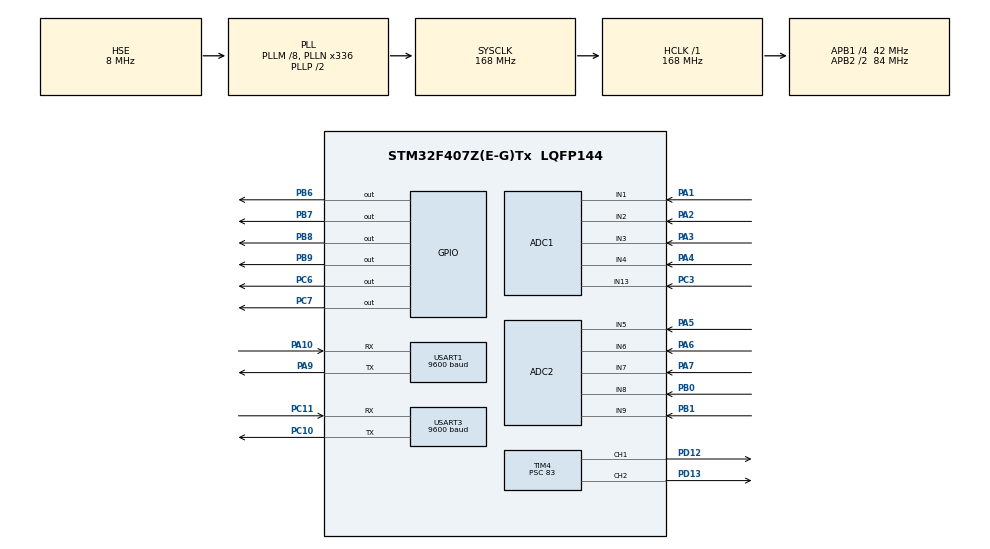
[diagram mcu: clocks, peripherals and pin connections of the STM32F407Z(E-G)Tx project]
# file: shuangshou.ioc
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ADC1.Channel-0\#ChannelRegularConversion=ADC_CHANNEL_13
ADC1.Channel-1\#ChannelRegularConversion=ADC_CHANNEL_1
ADC1.Channel-2\#ChannelRegularConversion=ADC_CHANNEL_2
ADC1.Channel-3\#ChannelRegularConversion=ADC_CHANNEL_3
ADC1.Channel-4\#ChannelRegularConversion=ADC_CHANNEL_4
ADC1.ClockPrescaler=ADC_CLOCK_SYNC_PCLK_DIV4
ADC1.ContinuousConvMode=ENABLE
ADC1.DMAContinuousRequests=ENABLE
ADC1.DiscontinuousConvMode=DISABLE
ADC1.NbrOfConversion=5
ADC1.NbrOfConversionFlag=1
ADC1.Rank-0\#ChannelRegularConversion=1
ADC1.Rank-1\#ChannelRegularConversion=2
ADC1.Rank-2\#ChannelRegularConversion=3
ADC1.Rank-3\#ChannelRegularConversion=4
ADC1.Rank-4\#ChannelRegularConversion=5
ADC1.SamplingTime-0\#ChannelRegularConversion=ADC_SAMPLETIME_480CYCLES
ADC1.SamplingTime-1\#ChannelRegularConversion=ADC_SAMPLETIME_480CYCLES
ADC1.SamplingTime-2\#ChannelRegularConversion=ADC_SAMPLETIME_480CYCLES
ADC1.SamplingTime-3\#ChannelRegularConversion=ADC_SAMPLETIME_480CYCLES
ADC1.SamplingTime-4\#ChannelRegularConversion=ADC_SAMPLETIME_480CYCLES
ADC1.ScanConvMode=ENABLE
ADC1.master=1
ADC2.Channel-0\#ChannelRegularConversion=ADC_CHANNEL_5
ADC2.Channel-1\#ChannelRegularConversion=ADC_CHANNEL_6
ADC2.Channel-2\#ChannelRegularConversion=ADC_CHANNEL_7
ADC2.Channel-3\#ChannelRegularConversion=ADC_CHANNEL_8
ADC2.Channel-4\#ChannelRegularConversion=ADC_CHANNEL_9
ADC2.ClockPrescaler=ADC_CLOCK_SYNC_PCLK_DIV4
ADC2.ContinuousConvMode=ENABLE
ADC2.DMAContinuousRequests=ENABLE
ADC2.NbrOfConversion=5
ADC2.NbrOfConversionFlag=1
ADC2.Rank-0\#ChannelRegularConversion=1
ADC2.Rank-1\#ChannelRegularConversion=2
ADC2.Rank-2\#ChannelRegularConversion=3
ADC2.Rank-3\#ChannelRegularConversion=4
ADC2.Rank-4\#ChannelRegularConversion=5
ADC2.SamplingTime-0\#ChannelRegularConversion=ADC_SAMPLETIME_480CYCLES
ADC2.SamplingTime-1\#ChannelRegularConversion=ADC_SAMPLETIME_480CYCLES
ADC2.SamplingTime-2\#ChannelRegularConversion=ADC_SAMPLETIME_480CYCLES
ADC2.SamplingTime-3\#ChannelRegularConversion=ADC_SAMPLETIME_480CYCLES
ADC2.SamplingTime-4\#ChannelRegularConversion=ADC_SAMPLETIME_480CYCLES
ADC2.ScanConvMode=ENABLE
Dma.ADC1.0.Direction=DMA_PERIPH_TO_MEMORY
Dma.ADC1.0.FIFOMode=DMA_FIFOMODE_DISABLE
Dma.ADC1.0.Instance=DMA2_Stream0
Dma.ADC1.0.MemDataAlignment=DMA_MDATAALIGN_HALFWORD
Dma.ADC1.0.MemInc=DMA_MINC_ENABLE
Dma.ADC1.0.Mode=DMA_CIRCULAR
Dma.ADC1.0.PeriphDataAlignment=DMA_PDATAALIGN_HALFWORD
Dma.ADC1.0.PeriphInc=DMA_PINC_DISABLE
Dma.ADC1.0.Priority=DMA_PRIORITY_LOW
Dma.ADC2.1.Direction=DMA_PERIPH_TO_MEMORY
Dma.ADC2.1.FIFOMode=DMA_FIFOMODE_DISABLE
Dma.ADC2.1.Instance=DMA2_Stream2
Dma.ADC2.1.MemDataAlignment=DMA_MDATAALIGN_HALFWORD
Dma.ADC2.1.MemInc=DMA_MINC_ENABLE
Dma.ADC2.1.Mode=DMA_CIRCULAR
Dma.ADC2.1.PeriphDataAlignment=DMA_PDATAALIGN_HALFWORD
Dma.ADC2.1.PeriphInc=DMA_PINC_DISABLE
Dma.ADC2.1.Priority=DMA_PRIORITY_LOW
Dma.Request0=ADC1
Dma.Request1=ADC2
Dma.Request2=USART1_TX
Dma.USART1_TX.2.Direction=DMA_MEMORY_TO_PERIPH
Dma.USART1_TX.2.FIFOMode=DMA_FIFOMODE_DISABLE
Dma.USART1_TX.2.Instance=DMA2_Stream7
Dma.USART1_TX.2.MemDataAlignment=DMA_MDATAALIGN_BYTE
Dma.USART1_TX.2.MemInc=DMA_MINC_ENABLE
Dma.USART1_TX.2.Mode=DMA_NORMAL
Dma.USART1_TX.2.PeriphDataAlignment=DMA_PDATAALIGN_BYTE
Dma.USART1_TX.2.PeriphInc=DMA_PINC_DISABLE
Dma.USART1_TX.2.Priority=DMA_PRIORITY_LOW
Mcu.Family=STM32F4
Mcu.Name=STM32F407Z(E-G)Tx
Mcu.Package=LQFP144
NVIC.DMA2_Stream0_IRQn=true\:0\:0\:false\:false\:true\:false\:true\:true
NVIC.DMA2_Stream2_IRQn=true\:0\:0\:false\:false\:true\:false\:true\:true
NVIC.DMA2_Stream7_IRQn=true\:0\:0\:false\:false\:true\:false\:true\:true
NVIC.PriorityGroup=NVIC_PRIORITYGROUP_4
NVIC.TIM3_IRQn=true\:0\:0\:false\:false\:true\:true\:true\:true
NVIC.USART1_IRQn=true\:0\:0\:false\:false\:true\:false\:true\:true
NVIC.USART3_IRQn=true\:0\:0\:false\:false\:true\:true\:true\:true
PA1.Signal=ADCx_IN1
PA10.Mode=Asynchronous
PA10.Signal=USART1_RX
PA13.Mode=Serial_Wire
PA13.Signal=SYS_JTMS-SWDIO
PA14.Mode=Serial_Wire
PA14.Signal=SYS_JTCK-SWCLK
PA2.Signal=ADCx_IN2
PA3.Signal=ADCx_IN3
PA4.Signal=ADCx_IN4
PA5.Signal=ADCx_IN5
PA6.Signal=ADCx_IN6
PA7.Signal=ADCx_IN7
PC3.Signal=ADCx_IN13
PA9.Mode=Asynchronous
PA9.Signal=USART1_TX
PB0.Signal=ADCx_IN8
PB1.Signal=ADCx_IN9
PB6.GPIO_Speed=GPIO_SPEED_FREQ_HIGH
PB6.PinState=GPIO_PIN_SET
PB6.Signal=GPIO_Output
PB7.GPIO_Speed=GPIO_SPEED_FREQ_HIGH
PB7.PinState=GPIO_PIN_SET
PB7.Signal=GPIO_Output
PB8.GPIO_Speed=GPIO_SPEED_FREQ_HIGH
PB8.PinState=GPIO_PIN_SET
PB8.Signal=GPIO_Output
PB9.GPIO_Speed=GPIO_SPEED_FREQ_HIGH
PB9.PinState=GPIO_PIN_SET
PB9.Signal=GPIO_Output
PC10.Mode=Asynchronous
PC10.Signal=USART3_TX
PC11.Mode=Asynchronous
PC11.Signal=USART3_RX
PC6.GPIO_Speed=GPIO_SPEED_FREQ_HIGH
PC6.PinState=GPIO_PIN_SET
PC6.Signal=GPIO_Output
PC7.GPIO_Speed=GPIO_SPEED_FREQ_HIGH
PC7.PinState=GPIO_PIN_SET
PC7.Signal=GPIO_Output
PD12.Signal=S_TIM4_CH1
PD13.Signal=S_TIM4_CH2
PH0-OSC_IN.Mode=HSE-External-Oscillator
PH0-OSC_IN.Signal=RCC_OSC_IN
PH1-OSC_OUT.Mode=HSE-External-Oscillator
PH1-OSC_OUT.Signal=RCC_OSC_OUT
ProjectManager.HeapSize=0x200
ProjectManager.StackSize=0x400
ProjectManager.TargetToolchain=MDK-ARM V5.32
RCC.48MHZClocksFreq_Value=84000000
RCC.AHBFreq_Value=168000000
RCC.APB1CLKDivider=RCC_HCLK_DIV4
RCC.APB1Freq_Value=42000000
RCC.APB1TimFreq_Value=84000000
RCC.APB2CLKDivider=RCC_HCLK_DIV2
RCC.APB2Freq_Value=84000000
RCC.APB2TimFreq_Value=168000000
RCC.CortexFreq_Value=168000000
RCC.HCLKFreq_Value=168000000
RCC.HSE_VALUE=8000000
RCC.HSI_VALUE=16000000
RCC.LSE_VALUE=32768
RCC.PLLM=8
RCC.PLLN=336
RCC.PLLSourceVirtual=RCC_PLLSOURCE_HSE
RCC.SYSCLKFreq_VALUE=168000000
RCC.SYSCLKSource=RCC_SYSCLKSOURCE_PLLCLK
RCC.VCOOutputFreq_Value=336000000
SH.ADCx_IN13.0=ADC1_IN13,IN13
SH.ADCx_IN1.0=ADC1_IN1,IN1
SH.ADCx_IN2.0=ADC1_IN2,IN2
SH.ADCx_IN3.0=ADC1_IN3,IN3
SH.ADCx_IN4.0=ADC1_IN4,IN4
SH.ADCx_IN5.0=ADC2_IN5,IN5
SH.ADCx_IN6.0=ADC2_IN6,IN6
SH.ADCx_IN7.0=ADC2_IN7,IN7
SH.ADCx_IN8.0=ADC2_IN8,IN8
SH.ADCx_IN9.0=ADC2_IN9,IN9
SH.S_TIM4_CH1.0=TIM4_CH1,PWM Generation1 CH1
SH.S_TIM4_CH2.0=TIM4_CH2,PWM Generation2 CH2
TIM3.Period=999
TIM3.Prescaler=83
TIM4.Channel-PWM\ Generation1\ CH1=TIM_CHANNEL_1
TIM4.Channel-PWM\ Generation2\ CH2=TIM_CHANNEL_2
TIM4.Period=999
TIM4.Prescaler=83
TIM4.Pulse-PWM\ Generation1\ CH1=500
TIM4.Pulse-PWM\ Generation2\ CH2=500
USART1.BaudRate=9600
USART1.VirtualMode=VM_ASYNC
USART3.BaudRate=9600
USART3.VirtualMode=VM_ASYNC
VP_TIM3_VS_ClockSourceINT.Mode=Internal
board=custom

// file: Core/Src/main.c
/* USER CODE BEGIN Header */
/**
  ******************************************************************************
  * @file           : main.c
  * @brief          : 双手手语翻译手套 - 主调度框架（防御性重构 v3.1）
  * @author         : 项目维护重构版 v3.1
  * @date           : 2026-06-29
  * @note 多速率时序调度（基于 TIM3 1ms 系统 tick）
 *   10ms  / 100Hz : 右手 JY61P Read
  *   10ms  / 100Hz : 跌倒检测 + MAX30102 FIFO 分时读取
  *   20ms  /  50Hz : ADC Ping-Pong 快照 + Flex_Update + 痉挛检测
 *   50ms  /  20Hz : 手势识别 + 振动维护
  *   100ms /  10Hz : 蓝牙指令消费 + SOS 告警 + MAX30102 批处理
 *   250ms /   4Hz : FLEX/IMU 快速遥测；诊断帧每秒一次
  * @note 防御性设计
  *   1. Flex 采样链路使用 Ping-Pong DMA，避免读取时被后台 DMA 覆盖。
  *   2. MAX30102 以 10ms 轮询对齐 100Hz，降低 FIFO 失步和溢出风险。
  *   3. 心率/血氧越界判定下沉到驱动层，main 仅消费最终结果。
  ******************************************************************************
  */
/* USER CODE END Header */
#include "main.h"

#include "adc.h"
#include "dma.h"
#include "tim.h"
#include "usart.h"
#include "gpio.h"

/* USER CODE BEGIN Includes */
#include "i2c.h"
#include "flex_sensor.h"
#include "jy61p.h"
#include "dfplayer.h"
#include "bluetooth.h"
#include "vibrator.h"
#include "gesture.h"
#include "max30102.h"
#include "bringup_diag.h"
#include "soft_uart.h"
#include "alarm.h"
#include "alarm_session.h"
#include "test_input.h"
#include "usart3_rx.h"
#include "math.h"
#include "stddef.h"
#include "stdio.h"
#include "string.h"
/* USER CODE END Includes */

/* USER CODE BEGIN PTD */

/**
 * v3.1 升级说明：柔性传感器采样改为 ADC Ping-Pong 双缓冲
 * （HalfCplt/Cplt 中断），细节见 flex_sensor.c 与 adc.c 的 USER CODE。
 * 旧版 ADC_DMA_PAUSE/RESUME 宏已废弃。
 */
/* USER CODE END PTD */

/* USER CODE BEGIN PD */

/* MAX30102 仅作为展示遥测；外部蜂鸣器只由 JY61P 固件安全事件驱动。 */

/*
 * Temporary MAX30102 bring-up mode. At 9600 baud the five verbose telemetry
 * strings occupy most of the telemetry bandwidth. Keep only compact
 * PPG diagnostics while validating the sensor; set to 0U after bring-up.
 */
#define MAX30102_DIAG_ONLY 0U
#define BLUETOOTH_FAST_TELEMETRY_PERIOD_MS 250U
#define BLUETOOTH_DIAG_PERIOD_MS          1000U
#define BRINGUP_DIAG_PERIOD_MS            5000U
#define JY_RECOVERY_PERIOD_MS          500U
#define TEST_ACK_QUEUE_DEPTH                 4U
#define TEST_ACK_MAX_LENGTH                 80U
#define TEST_ACK_RETRY_PERIOD_MS             20U
#define TESTDBG_PERIOD_MS                  3000U
#define JY_REAL_STACK_DIAG_PERIOD_MS       3000U
#define STACK_MONITOR_PATTERN          0xA5A5A5A5UL
#define STACK_MONITOR_GUARD            0xD15EA5EDUL

/* 当前硬件配置：启用右手 JY61P，关闭左手 JY61P，关闭 DFPlayer，启用蜂鸣器。 */
#define JY61P_RIGHT_ENABLE 1U
#define JY61P_LEFT_ENABLE  0U
#define JY61P_ENABLE       (JY61P_RIGHT_ENABLE || JY61P_LEFT_ENABLE)
#define DFPLAYER_ENABLE    0U
#define BUZZER_ENABLE      1U

/* 报警演示参数：只用于样机调参，不是医疗验证阈值。 */
#define ALARM_MAX_SENSOR_AGE_MS          120U
#define ALARM_FALL_IMPACT_MIN_G          2.5f
#define ALARM_FALL_POSTURE_MIN_DEG       45.0f
#define ALARM_FALL_POSTURE_WINDOW_MS     1500U
#define ALARM_FALL_STILL_MIN_G           0.75f
#define ALARM_FALL_STILL_MAX_G           1.25f
#define ALARM_FALL_STILL_DELTA_MAX_G     0.20f
#define ALARM_FALL_STILL_ANGLE_MAX_DEG   8.0f
#define ALARM_FALL_STILL_CONFIRM_MS      1000U
#define ALARM_SHAKE_DELTA_MIN_G          2.0f
#define ALARM_SHAKE_WINDOW_MS            1200U
#define ALARM_SHAKE_MIN_HITS             10U
#define ALARM_SHAKE_HIT_MIN_INTERVAL_MS    50U
#define ALARM_REARM_QUIET_MS             2000U

/* 活动事件仍由协议周期重发；本地蜂鸣器到时自动静音，避免长鸣。 */
#define ALARM_REPEAT_PERIOD_MS            1000U
#define ALARM_LOCAL_BUZZER_TIMEOUT_MS    30000U
#define BUZZER_PWM_COMPARE                500U
#define BUZZER_PWM_SILENT_COMPARE        1000U

/* USER CODE END PD */

/* USER CODE BEGIN PV */

/* ADC DMA 循环缓冲（每只手 5 通道，Ping-Pong 双半区） */
volatile uint16_t adc1_buf[ADC_PINGPONG_SIZE];  /* 左手 5ch x 2 half-buffer */
volatile uint16_t adc2_buf[ADC_PINGPONG_SIZE];  /* 右手 5ch x 2 half-buffer */

/* 多速率调度时间戳 */
static uint32_t t_jy_poll = 0;
static uint32_t t_10ms  = 0;
static uint32_t t_ppg_fifo = 0;
static uint32_t t_20ms  = 0;
static uint32_t t_50ms  = 0;
static uint32_t t_100ms = 0;
static uint32_t t_200ms = 0;
static uint32_t t_bt_diag = 0;
static uint32_t t_bringup_diag = 0;

/* 全局系统 tick，由 TIM3 1ms 中断递增 */
volatile uint32_t sys_tick_ms = 0;

/* TEST ACK 暂存独立于报警 TX 队列；普通 TX 队列满时延后重试。 */
static char test_ack_queue[TEST_ACK_QUEUE_DEPTH][TEST_ACK_MAX_LENGTH];
static uint8_t test_ack_head = 0U;
static uint8_t test_ack_tail = 0U;
static uint8_t test_ack_count = 0U;
static uint32_t test_ack_retry_count = 0U;
static uint32_t test_ack_drop_count = 0U;
static uint32_t test_ack_last_try_ms = 0U;
static uint8_t test_ack_try_seen = 0U;
static char uart3_rx_diag_line[256];

/* MAX30102 初始化状态 */
static uint8_t max30102_present = 0;  /* 1 = 设备在线且初始化成功 */

/* 报警算法状态与本次启动会话号，均只存在 RAM。 */
static Alarm_State_t alarm_state;
static uint32_t alarm_boot_session = 0U;
static uint32_t alarm_last_tx_ms = 0U;
static uint8_t  alarm_tx_seen = 0U;
static Alarm_Event_t alarm_last_cleared_event;
static uint8_t  alarm_last_cleared_valid = 0U;
static uint8_t  alarm_clear_pending = 0U;
static uint32_t alarm_buzzer_started_ms = 0U;
static uint8_t  alarm_buzzer_active = 0U;
static uint32_t t_jy_right_recover = 0U;
static uint32_t t_jy_real_stack_diag = 0U;
static uint32_t jy_right_read_count = 0U;
static uint32_t jy_right_acc_error_count = 0U;
static uint32_t jy_right_gyro_error_count = 0U;
static uint32_t jy_right_angle_error_count = 0U;
static uint32_t jy_right_angle_zero_count = 0U;
static uint32_t jy_right_recovery_attempt_count = 0U;
static uint32_t jy_right_recovery_success_count = 0U;
static uint32_t jy_right_recovery_failure_count = 0U;
static uint32_t jy_right_gyro_updated_ms = 0U;
static uint8_t jy_right_gyro_sample_seen = 0U;
static uint32_t t_testdbg = 0U;
static uint8_t testdbg_float_sent = 0U;
static uint8_t stack_monitor_ready = 0U;

extern uint32_t Stack_Mem;
extern uint32_t __initial_sp;

/* JY61P 双手姿态数据（由驱动层维护） */
extern JY61P_Data_t JY61P_Right;
extern JY61P_Data_t JY61P_Left;

/* USER CODE END PV */

void SystemClock_Config(void);

/* USER CODE BEGIN 0 */

/* Fill only the unused portion below the current MSP; never touch live frames. */
static void StackMonitor_Init(void)
{
    uint32_t base = (uint32_t)&Stack_Mem;
    uint32_t top = (uint32_t)&__initial_sp;
    uint32_t sp = __get_MSP();
    uint32_t address;

    if (top <= base + 64U || sp <= base + 32U || sp > top) return;
    *(volatile uint32_t *)base = STACK_MONITOR_GUARD;
    for (address = base + 4U; address + 4U <= sp - 16U; address += 4U) {
        *(volatile uint32_t *)address = STACK_MONITOR_PATTERN;
    }
    stack_monitor_ready = 1U;
}

static uint32_t StackMonitor_Used(void)
{
    uint32_t address = (uint32_t)&Stack_Mem + 4U;
    uint32_t top = (uint32_t)&__initial_sp;

    if (stack_monitor_ready == 0U) return 0U;
    while (address < top &&
           *(volatile const uint32_t *)address == STACK_MONITOR_PATTERN) {
        address += 4U;
    }
    return top - address;
}

static uint8_t Alarm_MainTimestampFresh(uint32_t now_ms, uint32_t stamp_ms)
{
    uint32_t age = now_ms - stamp_ms;
    return (age <= 0x7FFFFFFFUL && age <= ALARM_MAX_SENSOR_AGE_MS) ? 1U : 0U;
}

static uint32_t JY_MainSampleAge(uint32_t now_ms, uint8_t sample_seen,
                                 uint32_t updated_ms)
{
    uint32_t age;

    if (sample_seen == 0U) {
        return 0xFFFFFFFFUL;
    }

    age = now_ms - updated_ms;
    if (age > 0x7FFFFFFFUL) {
        return 0xFFFFFFFFUL;
    }
    return age;
}

static uint32_t JY_MainAccAge(uint32_t now_ms, const JY61P_Data_t *data)
{
    if (data == 0) {
        return 0xFFFFFFFFUL;
    }
    return JY_MainSampleAge(now_ms, data->acc_sample_seen,
                            data->acc_updated_ms);
}

static void JY_MainCountSaturating(uint32_t *counter)
{
    if (counter != 0 && *counter != 0xFFFFFFFFUL) {
        (*counter)++;
    }
}

static uint8_t Alarm_MainSendEvent(const Alarm_Event_t *event, uint8_t active)
{
    char line[96];

    if (Alarm_FormatEvent(line, sizeof(line), event, active) > 0) {
        return BT_SendAlarmString(line);
    }
    return 0U;
}

static void Alarm_MainRetryClear(void)
{
    if (alarm_clear_pending != 0U && alarm_last_cleared_valid != 0U) {
        if (Alarm_MainSendEvent(&alarm_last_cleared_event, 0U) != 0U) {
            alarm_clear_pending = 0U;
        }
    }
}

static void Alarm_MainStartBuzzer(uint32_t now_ms)
{
#if BUZZER_ENABLE
    __HAL_TIM_SET_COMPARE(&htim4, TIM_CHANNEL_3, BUZZER_PWM_COMPARE);
    alarm_buzzer_started_ms = now_ms;
    alarm_buzzer_active = 1U;
#else
    (void)now_ms;
#endif
}

static void Alarm_MainStopBuzzer(void)
{
#if BUZZER_ENABLE
    __HAL_TIM_SET_COMPARE(&htim4, TIM_CHANNEL_3, BUZZER_PWM_SILENT_COMPARE);
#endif
    alarm_buzzer_active = 0U;
}

static void TestInput_MainPublishFlex(void)
{
    const TestInput_Snapshot_t *snapshot = TestInput_GetAppliedSnapshot();
    uint8_t i;

    if (snapshot == 0) return;

    for (i = 0U; i < FINGER_NUM; i++) {
        Flex_Finger_t *left = &Hand_Left[i];
        Flex_Finger_t *right = &Hand_Right[i];

        left->pos_percent = snapshot->flex[i];
        right->pos_percent = snapshot->flex[FINGER_NUM + i];
        left->current_raw = (uint16_t)(((uint32_t)left->pos_percent *
                                        4095U) / 100U);
        right->current_raw = (uint16_t)(((uint32_t)right->pos_percent *
                                         4095U) / 100U);
        left->history_buffer[left->history_index] = left->pos_percent;
        left->history_index = (uint8_t)((left->history_index + 1U) %
                                        HISTORY_SIZE);
        right->history_buffer[right->history_index] = right->pos_percent;
        right->history_index = (uint8_t)((right->history_index + 1U) %
                                         HISTORY_SIZE);
    }
}

static void TestInput_MainQueueAck(const char *line)
{
    size_t length;
    uint8_t next_head;

    if (line == 0) {
        test_ack_drop_count++;
        return;
    }
    length = strlen(line);
    if (length == 0U || length >= TEST_ACK_MAX_LENGTH ||
        test_ack_count >= TEST_ACK_QUEUE_DEPTH) {
        test_ack_drop_count++;
        return;
    }

    memcpy(test_ack_queue[test_ack_head], line, length + 1U);
    next_head = (uint8_t)(test_ack_head + 1U);
    if (next_head >= TEST_ACK_QUEUE_DEPTH) next_head = 0U;
    test_ack_head = next_head;
    test_ack_count++;
}

static void TestInput_MainServiceAcks(uint32_t now_ms)
{
    uint8_t next_tail;

    if (test_ack_count == 0U) return;
    if (test_ack_try_seen != 0U &&
        (uint32_t)(now_ms - test_ack_last_try_ms) <
        TEST_ACK_RETRY_PERIOD_MS) {
        return;
    }
    test_ack_try_seen = 1U;
    test_ack_last_try_ms = now_ms;

    if (BT_SendString(test_ack_queue[test_ack_tail]) == 0U) {
        test_ack_retry_count++;
        return;
    }

    test_ack_queue[test_ack_tail][0] = '\0';
    next_tail = (uint8_t)(test_ack_tail + 1U);
    if (next_tail >= TEST_ACK_QUEUE_DEPTH) next_tail = 0U;
    test_ack_tail = next_tail;
    test_ack_count--;
}

/* Only in VIRTUAL mode, at low rate. Numeric fields do not use printf %f. */
static void TestInput_MainSendDebug(uint32_t now_ms)
{
    const TestInput_Snapshot_t *snapshot;
    char line[192];
    char formatted_angle[32];
    int length;

    if (TestInput_GetSource() != TEST_INPUT_SOURCE_VIRTUAL) {
        testdbg_float_sent = 0U;
        return;
    }
    if ((uint32_t)(now_ms - t_testdbg) < TESTDBG_PERIOD_MS) {
        return;
    }
    t_testdbg = now_ms;
    snapshot = TestInput_GetAppliedSnapshot();

    length = snprintf(line, sizeof(line),
        "[TESTDBG] SRC=1|APPLIED=%u|SEQ=%lu|SR=%ld|SP=%ld|SY=%ld|"
        "SAX=%ld|SAY=%ld|SAZ=%ld\r\n",
        (unsigned int)(snapshot != NULL),
        (unsigned long)((snapshot != NULL) ? snapshot->sequence : 0U),
        (long)((snapshot != NULL) ? TestInput_DebugScale(snapshot->angle[0], 100U) : -2000000000L),
        (long)((snapshot != NULL) ? TestInput_DebugScale(snapshot->angle[1], 100U) : -2000000000L),
        (long)((snapshot != NULL) ? TestInput_DebugScale(snapshot->angle[2], 100U) : -2000000000L),
        (long)((snapshot != NULL) ? TestInput_DebugScale(snapshot->acc[0], 1000U) : -2000000000L),
        (long)((snapshot != NULL) ? TestInput_DebugScale(snapshot->acc[1], 1000U) : -2000000000L),
        (long)((snapshot != NULL) ? TestInput_DebugScale(snapshot->acc[2], 1000U) : -2000000000L));
    if (length > 0 && (size_t)length < sizeof(line)) (void)BT_SendString(line);

    if (stack_monitor_ready != 0U) {
        uint32_t size = (uint32_t)&__initial_sp - (uint32_t)&Stack_Mem;
        uint32_t used = StackMonitor_Used();
        length = snprintf(line, sizeof(line),
            "[STACK]|SIZE=%lu|USED=%lu|FREE=%lu|GUARD=%u\r\n",
            (unsigned long)size, (unsigned long)used,
            (unsigned long)(size - used),
            (unsigned int)(*(volatile const uint32_t *)&Stack_Mem ==
                           STACK_MONITOR_GUARD));
        if (length > 0 && (size_t)length < sizeof(line)) (void)BT_SendString(line);
    }

    length = snprintf(line, sizeof(line),
        "[TESTDBG] PUB=%lu|JR=%ld|JP=%ld|JY=%ld|JAX=%ld|JAY=%ld|JAZ=%ld|"
        "ONLINE=%u|EV=%u|LAST=%u|AV=%u|ANGV=%u|ASEEN=%u|GSEEN=%u\r\n",
        (unsigned long)TestInput_GetPublishCount(),
        (long)TestInput_DebugScale(JY61P_Right.angle[0], 100U),
        (long)TestInput_DebugScale(JY61P_Right.angle[1], 100U),
        (long)TestInput_DebugScale(JY61P_Right.angle[2], 100U),
        (long)TestInput_DebugScale(JY61P_Right.acc[0], 1000U),
        (long)TestInput_DebugScale(JY61P_Right.acc[1], 1000U),
        (long)TestInput_DebugScale(JY61P_Right.acc[2], 1000U),
        (unsigned int)JY61P_Right.online,
        (unsigned int)JY61P_Right.error_streak,
        (unsigned int)JY61P_Right.last_error,
        (unsigned int)JY61P_Right.acc_valid,
        (unsigned int)JY61P_Right.angle_valid,
        (unsigned int)JY61P_Right.acc_sample_seen,
        (unsigned int)JY61P_Right.angle_sample_seen);
    if (length > 0 && (size_t)length < sizeof(line)) (void)BT_SendString(line);

    if (snapshot != NULL && TestInput_GetPublishCount() != 0U &&
        testdbg_float_sent == 0U) {
        length = snprintf(formatted_angle, sizeof(formatted_angle), "%.2f",
                          (double)JY61P_Right.angle[0]);
        if (length < 0) {
            (void)snprintf(formatted_angle, sizeof(formatted_angle), "ERR");
        } else if ((size_t)length >= sizeof(formatted_angle)) {
            (void)snprintf(formatted_angle, sizeof(formatted_angle), "TRUNC");
        }
        length = snprintf(line, sizeof(line),
            "[TESTDBG] SZ=%u|OFF_ANGLE=%u|OFF_ONLINE=%u|OFF_LAST=%u|"
            "OFF_AV=%u|OFF_ACCMS=%u|FIXED=%ld|FLOAT=%s\r\n",
            (unsigned int)sizeof(JY61P_Data_t),
            (unsigned int)offsetof(JY61P_Data_t, angle),
            (unsigned int)offsetof(JY61P_Data_t, online),
            (unsigned int)offsetof(JY61P_Data_t, last_error),
            (unsigned int)offsetof(JY61P_Data_t, acc_valid),
            (unsigned int)offsetof(JY61P_Data_t, acc_updated_ms),
            (long)TestInput_DebugScale(JY61P_Right.angle[0], 100U),
            formatted_angle);
        if (length > 0 && (size_t)length < sizeof(line) &&
            BT_SendString(line) != 0U) {
            testdbg_float_sent = 1U;
        }
    }
}

/* USER CODE END 0 */

int main(void)
{
  /* USER CODE BEGIN 1 */
  uint8_t jy_right_ret;
#if JY61P_LEFT_ENABLE
  uint8_t jy_left_ret;
#endif
  Alarm_Config_t alarm_config;
  /* USER CODE END 1 */

  StackMonitor_Init();

  /* MCU Configuration--------------------------------------------------------*/
  HAL_Init();
  SystemClock_Config();

  /* 启动会话号只写 RAM：优先硬件 RNG，不依赖 Flash 计数器。 */
  alarm_boot_session = AlarmSession_Generate();
  Alarm_ConfigDefault(&alarm_config);
  alarm_config.max_sensor_age_ms = ALARM_MAX_SENSOR_AGE_MS;
  alarm_config.impact_min_g = ALARM_FALL_IMPACT_MIN_G;
  alarm_config.posture_change_min_deg = ALARM_FALL_POSTURE_MIN_DEG;
  alarm_config.posture_window_ms = ALARM_FALL_POSTURE_WINDOW_MS;
  alarm_config.still_acc_min_g = ALARM_FALL_STILL_MIN_G;
  alarm_config.still_acc_max_g = ALARM_FALL_STILL_MAX_G;
  alarm_config.still_delta_max_g = ALARM_FALL_STILL_DELTA_MAX_G;
  alarm_config.still_angle_step_max_deg = ALARM_FALL_STILL_ANGLE_MAX_DEG;
  alarm_config.still_confirm_ms = ALARM_FALL_STILL_CONFIRM_MS;
  alarm_config.shake_delta_min_g = ALARM_SHAKE_DELTA_MIN_G;
  alarm_config.shake_window_ms = ALARM_SHAKE_WINDOW_MS;
  alarm_config.shake_min_hits = ALARM_SHAKE_MIN_HITS;
  alarm_config.shake_hit_min_interval_ms = ALARM_SHAKE_HIT_MIN_INTERVAL_MS;
  alarm_config.rearm_quiet_ms = ALARM_REARM_QUIET_MS;
  Alarm_Init(&alarm_state, alarm_boot_session, &alarm_config);

  /* Initialize all configured peripherals */
  MX_GPIO_Init();
  MX_DMA_Init();
#if JY61P_ENABLE
#if JY61P_RIGHT_ENABLE
  MX_I2C1_Init();
#endif
#if JY61P_LEFT_ENABLE
  MX_I2C2_Init();
#endif
#endif
  MX_I2C3_Init();
#if DFPLAYER_ENABLE
  MX_USART1_UART_Init();
#endif
  MX_USART3_UART_Init();
  MX_ADC1_Init();
  MX_ADC2_Init();
  MX_TIM3_Init();
  MX_TIM4_Init();

  /* 启动 TIM3 1ms 中断，作为统一调度时钟源 */
  HAL_TIM_Base_Start_IT(&htim3);

  /* USER CODE BEGIN 2 */
  BringupDiag_Init();

  /* 阶段 1：基础通信与采样链路初始化 */
  Flex_Init();         /* 柔性传感器极值/方向初始化 */

  /* 阶段 2：启动 ADC DMA 循环扫描（双 ADC 独立 DMA） */
  HAL_ADC_Start_DMA(&hadc1, (uint32_t *)adc1_buf, ADC_PINGPONG_SIZE);
  HAL_ADC_Start_DMA(&hadc2, (uint32_t *)adc2_buf, ADC_PINGPONG_SIZE);

  /* 阶段 3：初始化已启用的 JY61P 通道 */
#if JY61P_RIGHT_ENABLE
  jy_right_ret = JY61P_Init(JY61P_CH_RIGHT);
  if (jy_right_ret != 0U) {
      BringupDiag_SetJYRightResult(0, jy_right_ret);
      /* 右手 JY61P 未就绪：检查 3.3V 供电及是否已切换到 I2C 模式 */
  } else {
      BringupDiag_SetJYRightResult(1, jy_right_ret);
  }
#endif
#if JY61P_LEFT_ENABLE
  jy_left_ret = JY61P_Init(JY61P_CH_LEFT);
  if (jy_left_ret != 0U) {
      BringupDiag_SetJYLeftResult(0, jy_left_ret);
      /* 左手 JY61P 未就绪：排查项同上 */
  } else {
      BringupDiag_SetJYLeftResult(1, jy_left_ret);
  }
#endif

  /* 阶段 4：初始化外设模块 */
#if DFPLAYER_ENABLE
  DFPlayer_Init();     /* DFPlayer 上电，默认音量 25 */
#endif
  BT_Init();           /* 蓝牙接收缓冲和协议解析器初始化 */
  TestInput_Init();    /* 默认 REAL；只有明确 TEST:ENTER 才进入虚拟输入。 */
  Vibrator_Init();     /* TIM4 PWM 双通道启动，占空比先置 0 */
#if BUZZER_ENABLE
  /* 该模块为低电平触发：先预置高电平和 100% 高占空比，再使能 PWM。 */
  HAL_GPIO_WritePin(GPIOD, GPIO_PIN_14, GPIO_PIN_SET);
  __HAL_TIM_SET_COMPARE(&htim4, TIM_CHANNEL_3, BUZZER_PWM_SILENT_COMPARE);
  if (HAL_TIM_PWM_Start(&htim4, TIM_CHANNEL_3) != HAL_OK) {
      Error_Handler();
  }
#endif
  Gesture_Init();      /* 手势状态机与 jerk 检测窗口清零 */
  SoftUART_Init();     /* PE0 软串口，预留给 ESP-01S MQTT */

  /* 阶段 5：初始化 MAX30102，失败时允许系统降级运行 */
  {
      uint8_t max30102_status = MAX30102_Init();
      if (max30102_status == 0U) {
          max30102_present = 1;
          BringupDiag_SetMAX30102Result(1, max30102_status);
      } else {
          max30102_present = 0;
          BringupDiag_SetMAX30102Result(0, max30102_status);
          /* MAX30102 不在线时，仅关闭心率/血氧功能，不阻塞其他模块 */
          /* 当前仍处于无实物阶段，这条降级路径也方便空板联调 */
      }
  }
  BringupDiag_RecomputeDegraded();

  /* 阶段 6：启动可恢复的 UART3 单字节中断接收。 */
  (void)USART3_RxStart();
  BT_SendString("BOOT:C63AFB5\r\n");
  /* 诊断帧走同一条普通队列；主循环还会周期重发，不能依赖此一次。 */
  (void)BringupDiag_TrySend();

  /* 上电提示：当前关闭 DFPlayer，仅短振双手 */
#if DFPLAYER_ENABLE
  DFPlayer_Play(99);  /* 99.mp3 = 开机提示音 */
#endif
  Vibrator_Pulse(VIB_RIGHT, 50, 80);
  Vibrator_Pulse(VIB_LEFT,  50, 80);

  /* USER CODE END 2 */

  /* Infinite loop */
  /* USER CODE BEGIN WHILE */
  while (1)
  {
    uint32_t now = sys_tick_ms;

    USART3_RxService(now);

    /* 推进蓝牙发送队列；该调用不等待 UART。 */
    BT_TxService();
    TestInput_MainServiceAcks(now);

    if (TestInput_Service(now) != 0U) {
        TestInput_MainQueueAck("[TEST] MODE=REAL|REASON=TIMEOUT\r\n");
    }
    TestInput_MainSendDebug(now);

    if (alarm_buzzer_active != 0U &&
        (uint32_t)(now - alarm_buzzer_started_ms) >=
        ALARM_LOCAL_BUZZER_TIMEOUT_MS) {
        __HAL_TIM_SET_COMPARE(&htim4, TIM_CHANNEL_3, BUZZER_PWM_SILENT_COMPARE);
        alarm_buzzer_active = 0U;
    }

    /*
     * Service the PPG FIFO before lower-priority polling and synchronous
     * UART telemetry. At 100 Hz, a 32-sample FIFO is full after only 320 ms.
     */
    if (max30102_present && (now - t_ppg_fifo >= 10U)) {
        t_ppg_fifo = now;
        MAX30102_ReadFIFO();
        now = sys_tick_ms;
    }

    /* 任务 1：10ms / 100Hz，读取已启用的 JY61P 通道。 */
#if JY61P_ENABLE
    if (now - t_jy_poll >= 10U) {
        t_jy_poll = now;
        float acc[3], gyro[3], angle[3];
        if (TestInput_GetSource() == TEST_INPUT_SOURCE_VIRTUAL) {
            TestInput_PublishMotion(&JY61P_Right, now);
        } else {
        /*
         * Do not access an IMU which failed its power-on probe. An absent I2C
         * device can keep each transaction waiting for its timeout, starving
         * MAX30102 FIFO servicing. Reset after reconnecting an offline IMU so
         * that JY61P_Init() probes it again.
         */
#if JY61P_RIGHT_ENABLE
        if (JY61P_IsOnline(JY61P_CH_RIGHT)) {
            uint8_t jy_error_mask =
                JY61P_Read_Data(JY61P_CH_RIGHT, acc, gyro, angle);
            JY_MainCountSaturating(&jy_right_read_count);
            if ((jy_error_mask & JY61P_ERR_ACC) != 0U) {
                JY_MainCountSaturating(&jy_right_acc_error_count);
            }
            if ((jy_error_mask & JY61P_ERR_GYRO) != 0U) {
                JY_MainCountSaturating(&jy_right_gyro_error_count);
            } else {
                jy_right_gyro_sample_seen = 1U;
                jy_right_gyro_updated_ms = sys_tick_ms;
            }
            if ((jy_error_mask & JY61P_ERR_ANGLE) != 0U) {
                JY_MainCountSaturating(&jy_right_angle_error_count);
            }
            if ((jy_error_mask & JY61P_ERR_ANGLE_ZERO) != 0U) {
                JY_MainCountSaturating(&jy_right_angle_zero_count);
            }
        } else if ((now - t_jy_right_recover) >= JY_RECOVERY_PERIOD_MS) {
            t_jy_right_recover = now;
            JY_MainCountSaturating(&jy_right_recovery_attempt_count);
            if (JY61P_TryRecover(JY61P_CH_RIGHT) == 0U) {
                JY_MainCountSaturating(&jy_right_recovery_success_count);
                jy_right_gyro_sample_seen = 0U;
                jy_right_gyro_updated_ms = 0U;
            } else {
                JY_MainCountSaturating(&jy_right_recovery_failure_count);
            }
        }
#endif
#if JY61P_LEFT_ENABLE
        if (JY61P_IsOnline(JY61P_CH_LEFT)) {
            JY61P_Read_Data(JY61P_CH_LEFT, acc, gyro, angle);
        }
#endif
        }
    }
#endif

    /* I2C 读可能推进 TIM3 tick；所有下游任务使用读完成后的当前时间。 */
    now = sys_tick_ms;

    /* 任务 2：10ms / 100Hz，跌倒检测 + MAX30102 FIFO 读取 */
    if (now - t_10ms >= 10U) {
        t_10ms = now;

        /* 报警算法仅消费 JY61P 的新鲜 ACC + 姿态快照；不消费 CARE 演示值。 */
#if JY61P_ENABLE
        {
            Alarm_Sample_t alarm_sample;
            Alarm_Transition_t alarm_transition;
            uint32_t alarm_now = sys_tick_ms;

            alarm_sample.acc[0] = JY61P_Right.acc[0];
            alarm_sample.acc[1] = JY61P_Right.acc[1];
            alarm_sample.acc[2] = JY61P_Right.acc[2];
            alarm_sample.angle[0] = JY61P_Right.angle[0];
            alarm_sample.angle[1] = JY61P_Right.angle[1];
            alarm_sample.angle[2] = JY61P_Right.angle[2];
            alarm_sample.sample_tick_ms = JY61P_Right.acc_updated_ms;
            if ((JY61P_Right.angle_updated_ms -
                 alarm_sample.sample_tick_ms) < 0x80000000UL) {
                alarm_sample.sample_tick_ms = JY61P_Right.angle_updated_ms;
            }
            alarm_sample.valid =
                (JY61P_Right.acc_valid != 0U &&
                 JY61P_Right.angle_valid != 0U &&
                 Alarm_MainTimestampFresh(alarm_now,
                                          JY61P_Right.acc_updated_ms) != 0U &&
                 Alarm_MainTimestampFresh(alarm_now,
                                          JY61P_Right.angle_updated_ms) != 0U) ?
                1U : 0U;

            if (Alarm_Process(&alarm_state, &alarm_sample, alarm_now,
                              &alarm_transition) == ALARM_TRANSITION_RAISE) {
                Alarm_MainStartBuzzer(alarm_now);
                if (Alarm_MainSendEvent(&alarm_transition.event, 1U) != 0U) {
                    alarm_last_tx_ms = alarm_now;
                    alarm_tx_seen = 1U;
                } else {
                    /* 发送状态可知；活动事件仍锁存，100ms 任务会重试。 */
                    alarm_tx_seen = 0U;
                }
            }
        }
#endif

        /* MAX30102 FIFO 分时读取（100Hz 同步轮询） */
        if (max30102_present) {
            /* FIFO is serviced at the top of the loop. */
            /* 由驱动层负责 FIFO 溢出恢复、样本有效性与时间戳维护 */
        }
    }

    /* 任务 3：20ms / 50Hz，仅更新 Flex 数据；Flex 不参与蜂鸣器报警。 */
    if (now - t_20ms >= 20U) {
        t_20ms = now;
        if (TestInput_GetSource() == TEST_INPUT_SOURCE_VIRTUAL) {
            TestInput_MainPublishFlex();
        } else {
            /* v2.4 起改为 Ping-Pong 快照，内部读取稳定半缓冲区。 */
            Flex_Update();
        }
    }

    /* 任务 4：50ms / 20Hz，手势识别 + 振动维护 */
    if (now - t_50ms >= 50U) {
        t_50ms = now;

        /* 根据当前双手状态机输出一个手势结果 */
        GestureResult_t gr = Gesture_Evaluate();
        if (gr.active) {
            if (gr.is_ctrl) {
                /* 控制模式：经软串口下发 MQTT 控制消息 */
                SoftUART_SendMQTT(ctrl_vocab[gr.ctrl_idx].topic,
                                  ctrl_vocab[gr.ctrl_idx].payload);
                Vibrator_Pulse(VIB_RIGHT, 50, 80);
            } else {
                /* 翻译/康复模式：当前仅振动反馈，DFPlayer 已关闭 */
#if DFPLAYER_ENABLE
                if (!DFPlayer_IsBusy()) {
                    DFPlayer_Play(gr.file_index);
                }
#endif
                Vibrator_Pulse(VIB_RIGHT, 50, 80);
                Vibrator_Pulse(VIB_LEFT,  50, 80);
            }
        }

        /* 维护振动脉冲自动关闭 */
        Vibrator_Tick();
    }

    /* 任务 5：100ms / 10Hz，模式切换 + 蓝牙指令 + PPG 批处理 */
    if (now - t_100ms >= 100U) {
        t_100ms = now;
        char bt_line[BT_RX_BUF_SIZE];

        if ((uint32_t)(now - t_bringup_diag) >= BRINGUP_DIAG_PERIOD_MS) {
            BT_RxDiagnostics_t bt_rx_diag;
            USART3_RxDiagnostics_t uart3_rx_diag;

            t_bringup_diag = now;
            (void)BringupDiag_TrySend();
            BT_RxGetDiagnostics(&bt_rx_diag);
            USART3_RxGetDiagnostics(&uart3_rx_diag);
            (void)snprintf(uart3_rx_diag_line, sizeof(uart3_rx_diag_line),
                "UART3_RX|BYTES=%lu|LINES=%lu|LINE_DROP=%lu|RESET=%lu|LONG=%lu|"
                "ERR=%lu|ORE=%lu|FE=%lu|NE=%lu|PE=%lu|RECOVER=%lu|"
                "ARMFAIL=%lu|ACK_RETRY=%lu|ACK_DROP=%lu\r\n",
                (unsigned long)uart3_rx_diag.bytes_received,
                (unsigned long)bt_rx_diag.lines_received,
                (unsigned long)bt_rx_diag.lines_dropped,
                (unsigned long)bt_rx_diag.partial_resets,
                (unsigned long)bt_rx_diag.overlong_lines,
                (unsigned long)uart3_rx_diag.errors,
                (unsigned long)uart3_rx_diag.overrun_errors,
                (unsigned long)uart3_rx_diag.framing_errors,
                (unsigned long)uart3_rx_diag.noise_errors,
                (unsigned long)uart3_rx_diag.parity_errors,
                (unsigned long)uart3_rx_diag.recoveries,
                (unsigned long)uart3_rx_diag.rearm_failures,
                (unsigned long)test_ack_retry_count,
                (unsigned long)test_ack_drop_count);
            (void)BT_SendString(uart3_rx_diag_line);
        }

        /* 保持双手全弯 3 秒切换模式，并播放模式提示音 */
        {
            static uint8_t  mode_hold = 0;
            static uint32_t mode_start = 0;
            char cur[11];
            Gesture_GetCurrentCode(cur);
            cur[10] = '\0';
            if (strcmp(cur, "2222222222") == 0) {
                if (!mode_hold) {
                    mode_hold = 1;
                    mode_start = now;
                    /* Hold 期间冻结手势输出，避免误触发语音 */
                    Gesture_Freeze();
                } else if (now - mode_start > 3000U) {
                    /* 满足 3 秒后切换到下一模式 */
#if DFPLAYER_ENABLE
                    DFPlayer_Stop();
#endif
                    GestureMode_t m = Gesture_GetMode();
                    m = (GestureMode_t)(((uint8_t)m + 1U) % 3U);
                    Gesture_SetMode(m);
                    Gesture_Unfreeze();
#if DFPLAYER_ENABLE
                    if (m == MODE_TRANSLATE)      DFPlayer_Play(60);
                    else if (m == MODE_CONTROL)   DFPlayer_Play(61);
                    else                           DFPlayer_Play(62);
#endif
                    mode_hold = 0;
                }
            } else {
                /* 松手后解冻，恢复正常识别 */
                if (mode_hold) Gesture_Unfreeze();
                mode_hold = 0;
            }
        }

        /* 消费蓝牙指令 */
        uint8_t cmd = BT_GetCommand();
        switch (cmd) {
        case BT_CMD_CAL_MIN:
            Gesture_Calibrate(0, 0);  /* 右手 MIN 校准 */
            Gesture_Calibrate(1, 0);  /* 左手 MIN 校准 */
            break;
        case BT_CMD_CAL_MAX:
            Gesture_Calibrate(0, 1);  /* 右手 MAX 校准 */
            Gesture_Calibrate(1, 1);  /* 左手 MAX 校准 */
            break;
        case BT_CMD_SENS_1:
            Gesture_SetSensitivity(GESTURE_SENS_HIGH);
            break;
        case BT_CMD_SENS_2:
            Gesture_SetSensitivity(GESTURE_SENS_MED);
            break;
        case BT_CMD_SENS_3:
            Gesture_SetSensitivity(GESTURE_SENS_LOW);
            break;
        default:
            break;
        }

        if (BT_FetchLastString(bt_line, sizeof(bt_line))) {
            char test_response[80];

            if (TestInput_HandleLine(bt_line, now, test_response,
                                     sizeof(test_response)) ==
                TEST_INPUT_HANDLED) {
                TestInput_MainQueueAck(test_response);
            } else {
#if DFPLAYER_ENABLE
            uint16_t file_num = 0U;
            unsigned volume = 0U;

            if (sscanf(bt_line, "<DF:PLAY=%hu>", &file_num) == 1) {
                DFPlayer_Play(file_num);
                BT_SendString("DF:PLAY OK\r\n");
            } else if (strstr(bt_line, "<DF:STOP>")) {
                DFPlayer_Stop();
                BT_SendString("DF:STOP OK\r\n");
            } else if (sscanf(bt_line, "<DF:VOL=%u>", &volume) == 1) {
                if (volume > 30U) {
                    volume = 30U;
                }
                DFPlayer_SetVolume((uint8_t)volume);
                BT_SendString("DF:VOL OK\r\n");
            }
#endif

            /* 仅匹配当前 BOOT 会话和当前活动 ID；过期 ACK 静默拒绝。 */
            {
                Alarm_Event_t cleared_event;
                if (Alarm_HandleAck(&alarm_state, bt_line,
                                    &cleared_event) != 0U) {
                    Alarm_MainStopBuzzer();
                    alarm_last_cleared_event = cleared_event;
                    alarm_last_cleared_valid = 1U;
                    alarm_clear_pending = 1U;
                    Alarm_MainRetryClear();
                    alarm_tx_seen = 0U;
                } else {
                    uint32_t ack_boot;
                    uint32_t ack_id;

                    /* 已解除事件只保留最近一条；完全匹配的重复 ACK
                       重新请求相同 ACTIVE=0，不触碰新的活动事件。 */
                    if (Alarm_ParseAck(bt_line, &ack_boot, &ack_id) != 0U &&
                        alarm_last_cleared_valid != 0U &&
                        ack_boot == alarm_last_cleared_event.boot_session &&
                        ack_id == alarm_last_cleared_event.id) {
                        alarm_clear_pending = 1U;
                        Alarm_MainRetryClear();
                    }
                }
            }
            }
        }

        /* 队列满时消警回执不会丢失；每个 100ms 任务重试一次。 */
        Alarm_MainRetryClear();

        /* 活动报警周期重发，直到匹配 ACK 解除；发送本身由 BT 队列完成。 */
        {
            Alarm_Event_t active_event;
            if (Alarm_GetActive(&alarm_state, &active_event) != 0U) {
                if (alarm_tx_seen == 0U ||
                    (uint32_t)(now - alarm_last_tx_ms) >=
                    ALARM_REPEAT_PERIOD_MS) {
                    if (Alarm_MainSendEvent(&active_event, 1U) != 0U) {
                        alarm_last_tx_ms = now;
                        alarm_tx_seen = 1U;
                    } else {
                        /* 发送状态可知；下一次 100ms 任务继续尝试。 */
                        alarm_tx_seen = 0U;
                    }
                }
            } else {
                alarm_tx_seen = 0U;
            }
        }

        /* MAX30102 批处理仅更新展示数据，不得触发外部蜂鸣器或活动报警。 */
        if (max30102_present) {
            MAX30102_ProcessTick();

            /* 手指脱离提示：离线超过 2 秒时长振提醒重新佩戴 */
            {
                static uint8_t  finger_off_ticks = 0;
                static uint8_t  finger_off_alarmed = 0;
                if (!MAX30102_IsOnline()) {
                    finger_off_ticks++;
                    if (finger_off_ticks > 20 && !finger_off_alarmed) {
                        Vibrator_Pulse(VIB_RIGHT, 300, 50);
                        Vibrator_Pulse(VIB_LEFT,  300, 50);
                        finger_off_alarmed = 1;
                    }
                } else {
                    finger_off_ticks = 0;
                    finger_off_alarmed = 0;
                }
            }
        }

    }

    /* 任务 6：快速帧 4Hz；诊断帧 1Hz。为 9600bps 和报警队列留余量。 */
    now = sys_tick_ms;
    if (now - t_200ms >= BLUETOOTH_FAST_TELEMETRY_PERIOD_MS) {
#if MAX30102_DIAG_ONLY
    static uint32_t t_ppg_diag_tx = 0;
#endif
        t_200ms = now;
        uint8_t send_diag =
            ((uint32_t)(now - t_bt_diag) >= BLUETOOTH_DIAG_PERIOD_MS) ? 1U : 0U;
        if (send_diag != 0U) t_bt_diag = now;

        /* AA + 5 flex + 3 angles x 2 + HR/SpO2 + mode + 5 flex + XOR + BB. */
        uint8_t frame[22];
        uint8_t pos = 0;
        frame[pos++] = 0xAAU;  /* 帧头 */

        /* 右手 5 指弯曲百分比 */
        for (uint8_t f = 0; f < 5U; f++)
            frame[pos++] = Flex_GetPercent(0, f);

        /* Roll/Pitch/Yaw（乘 100，int16 小端） */
        int16_t roll  = (int16_t)(JY61P_Right.angle[0] * 100.0f);
        int16_t pitch = (int16_t)(JY61P_Right.angle[1] * 100.0f);
        int16_t yaw   = (int16_t)(JY61P_Right.angle[2] * 100.0f);
        frame[pos++] = (uint8_t)(roll & 0xFF);
        frame[pos++] = (uint8_t)((roll >> 8) & 0xFF);
        frame[pos++] = (uint8_t)(pitch & 0xFF);
        frame[pos++] = (uint8_t)((pitch >> 8) & 0xFF);
        frame[pos++] = (uint8_t)(yaw & 0xFF);
        frame[pos++] = (uint8_t)((yaw >> 8) & 0xFF);

        /* 心率和血氧 */
        frame[pos++] = max30102_present ? MAX30102_GetHR()   : 0U;
        frame[pos++] = max30102_present ? MAX30102_GetSpO2() : 0U;

        /* 当前模式 */
        frame[pos++] = (uint8_t)Gesture_GetMode();

        /* 左手 5 指弯曲百分比 */
        for (uint8_t f = 0; f < 5U; f++)
            frame[pos++] = Flex_GetPercent(1, f);

        /* XOR 校验（不含帧头和帧尾） */
        uint8_t csum = 0U;
        for (uint8_t i = 1U; i < pos; i++) csum ^= frame[i];
        frame[pos++] = csum;
        frame[pos++] = 0xBBU;

        {
            /* Used only by the main loop; do not reserve all frame buffers on MSP. */
#if !MAX30102_DIAG_ONLY
            static char flex_line[128];
            static char imu_line[64];
            static char care_line[80];
#endif
            static char jy_line[96];
            static char acc_line[96];
            static char jy_debug_line[384];
            static char jy_real_stack_line[96];
            static uint32_t jy_hal_errors[4];
            static char ppg_line[96];
            static char alarm_state_line[96];
#if MAX30102_DIAG_ONLY
            static char ppgdbg_line[160];
            static char ppgq_line[112];
#endif
            uint8_t hr_value = max30102_present ? MAX30102_GetHR() : 0U;
            uint8_t spo2_value = max30102_present ? MAX30102_GetSpO2() : 0U;
#if !MAX30102_DIAG_ONLY
            Alarm_Event_t current_alarm;
            uint8_t alarm_active_value =
                (Alarm_GetActive(&alarm_state, &current_alarm) != 0U) ? 1U : 0U;
            uint8_t fall_value =
                (alarm_active_value != 0U &&
                 current_alarm.type == ALARM_TYPE_FALL) ? 1U : 0U;
            uint8_t sos_value = alarm_active_value;
#endif
            uint8_t acc_valid_value = 0U;
            uint32_t ppg_ir_value = 0U;
            uint32_t ppg_red_value = 0U;
            uint8_t ppg_valid_value = 0U;
#if MAX30102_DIAG_ONLY
            MAX30102_DebugRegs_t ppg_dbg = {0};
            MAX30102_Quality_t ppg_quality = {0};
            uint8_t ppg_dbg_ret = 0U;
#endif

            if (max30102_buf_idx > 0U) {
                uint16_t last_idx = (uint16_t)(max30102_buf_idx - 1U);
                ppg_ir_value = max30102_buf[last_idx].ir;
                ppg_red_value = max30102_buf[last_idx].red;
                ppg_valid_value = max30102_buf[last_idx].valid;
            } else if (max30102_ready || max30102_buf[0].tick_ms > 0U) {
                ppg_ir_value = max30102_buf[MAX30102_BUF_LEN - 1U].ir;
                ppg_red_value = max30102_buf[MAX30102_BUF_LEN - 1U].red;
                ppg_valid_value = max30102_buf[MAX30102_BUF_LEN - 1U].valid;
            }

#if MAX30102_DIAG_ONLY
            if ((now - t_ppg_diag_tx) >= 1000U) {
                t_ppg_diag_tx = now;
                ppg_dbg_ret = max30102_present ? MAX30102_GetDebugRegs(&ppg_dbg) : 0U;
                (void)MAX30102_GetQuality(&ppg_quality);

                snprintf(ppg_line, sizeof(ppg_line),
                         "PPG|IR=%lu|RED=%lu|VALID=%u|HR=%u|SPO2=%u\r\n",
                         (unsigned long)ppg_ir_value,
                         (unsigned long)ppg_red_value,
                         ppg_valid_value,
                         hr_value,
                         spo2_value);
                BT_SendString(ppg_line);

                snprintf(ppgq_line, sizeof(ppgq_line),
                         "Q|N=%u|V=%u|ID=%lu|RD=%lu|IA=%lu|RA=%lu|HA=%lu|PK=%u|DT=%u|R=%u\r\n",
                         ppg_quality.sample_count,
                         ppg_quality.valid_samples,
                         (unsigned long)ppg_quality.ir_dc,
                         (unsigned long)ppg_quality.red_dc,
                         (unsigned long)ppg_quality.ir_pp,
                         (unsigned long)ppg_quality.red_pp,
                         (unsigned long)ppg_quality.hr_ac_pp,
                         ppg_quality.peak_intervals,
                         ppg_quality.median_interval_ms,
                         ppg_quality.ratio_x1000);
                BT_SendString(ppgq_line);

                snprintf(ppgdbg_line, sizeof(ppgdbg_line),
                         "DBG|W=%u|R=%u|O=%u|C=%u|X=%u|E=%u,%u,%u,%u|P=%u,%u,%u|U=%u|Z=%u\r\n",
                         ppg_dbg.wr_ptr,
                         ppg_dbg.rd_ptr,
                         ppg_dbg.ovf_cnt,
                         ppg_dbg.fifo_calls,
                         ppg_dbg.fifo_resets,
                         ppg_dbg.fifo_reg_errors,
                         ppg_dbg.fifo_data_errors,
                         ppg_dbg.fifo_reset_write_errors,
                         ppg_dbg.fifo_reset_verify_errors,
                         ppg_dbg.post_reset_wr_ptr,
                         ppg_dbg.post_reset_rd_ptr,
                         ppg_dbg.post_reset_ovf_cnt,
                         ppg_dbg.last_unread,
                         ppg_dbg_ret);
                BT_SendString(ppgdbg_line);
            }
#else
            snprintf(flex_line, sizeof(flex_line),
                     "FLEX|L1=%u|L2=%u|L3=%u|L4=%u|L5=%u|R1=%u|R2=%u|R3=%u|R4=%u|R5=%u\r\n",
                     Flex_GetPercent(1, 0), Flex_GetPercent(1, 1), Flex_GetPercent(1, 2),
                     Flex_GetPercent(1, 3), Flex_GetPercent(1, 4), Flex_GetPercent(0, 0),
                     Flex_GetPercent(0, 1), Flex_GetPercent(0, 2), Flex_GetPercent(0, 3),
                     Flex_GetPercent(0, 4));
            BT_SendString(flex_line);

            /*
             * angle_valid only describes the current JY61P transaction.  A
             * transient all-zero angle snapshot deliberately clears it, but
             * the driver keeps the last proven pose in angle[].  Keep that
             * pose visible to BLE after at least one good sample; the paired
             * JY|...|LAST=16 diagnostic tells the client that it is a
             * fallback display value and must not arm safety detection.
             */
            if (JY61P_Right.angle_sample_seen != 0U) {
                snprintf(imu_line, sizeof(imu_line),
                         "IMU|R=%.2f|P=%.2f|Y=%.2f\r\n",
                         (double)JY61P_Right.angle[0],
                         (double)JY61P_Right.angle[1],
                         (double)JY61P_Right.angle[2]);
                BT_SendString(imu_line);
            }

            if (send_diag != 0U) {
                snprintf(care_line, sizeof(care_line),
                         "CARE|HR=%u|SPO2=%u|FALL=%u|SOS=%u\r\n",
                         hr_value, spo2_value, fall_value, sos_value);
                BT_SendString(care_line);

                snprintf(ppg_line, sizeof(ppg_line),
                         "PPG|IR=%lu|RED=%lu|VALID=%u\r\n",
                         (unsigned long)ppg_ir_value,
                         (unsigned long)ppg_red_value,
                         ppg_valid_value);
                BT_SendString(ppg_line);
            }

#endif
            if (send_diag != 0U) {
                snprintf(jy_line, sizeof(jy_line),
                         "JY|ONLINE=%u|ERR=%u|LAST=%u|AGE=%lu\r\n",
                         JY61P_Right.online,
                         JY61P_Right.error_streak,
                         JY61P_Right.last_error,
                         (unsigned long)JY_MainAccAge(now, &JY61P_Right));
                BT_SendString(jy_line);

                /* VALID=0 仅用于诊断，不得进入报警判定。 */
                acc_valid_value =
                    (JY61P_Right.acc_valid != 0U &&
                     Alarm_MainTimestampFresh(now,
                                              JY61P_Right.acc_updated_ms) != 0U) ?
                    1U : 0U;
                snprintf(acc_line, sizeof(acc_line),
                         "ACC|X=%.3f|Y=%.3f|Z=%.3f|VALID=%u\r\n",
                         (double)JY61P_Right.acc[0],
                         (double)JY61P_Right.acc[1],
                         (double)JY61P_Right.acc[2],
                         acc_valid_value);
                BT_SendString(acc_line);

                /* REAL-only raw sensor health diagnostics; formal IMU/ACC
                 * frames above remain unchanged.  Keep this at the existing
                 * 1 Hz diagnostic cadence to protect the 9600-baud TX queue. */
                if (TestInput_GetSource() == TEST_INPUT_SOURCE_REAL) {
                    int jy_debug_length;
                    JY61P_GetLastHalErrors(JY61P_CH_RIGHT, jy_hal_errors);
                    jy_debug_length = snprintf(
                        jy_debug_line, sizeof(jy_debug_line),
                        "[JYDBG] ONLINE=%u|ERR=%u|LAST=%u|"
                        "ACC_RAW=%d,%d,%d|GYRO_RAW=%d,%d,%d|"
                        "ANGLE_RAW=%d,%d,%d|AV=%u|ANGV=%u|ASEEN=%u|"
                        "GSEEN=%u|TSEEN=%u|AAGE=%lu|GAGE=%lu|TAGE=%lu|"
                        "READS=%lu|I2CERR=%lu,%lu,%lu|"
                        "HALERR=%lu,%lu,%lu,%lu|ZERO=%lu|REC=%lu,%lu,%lu\r\n",
                        (unsigned int)JY61P_Right.online,
                        (unsigned int)JY61P_Right.error_streak,
                        (unsigned int)JY61P_Right.last_error,
                        (int)JY61P_Right.acc_raw[0],
                        (int)JY61P_Right.acc_raw[1],
                        (int)JY61P_Right.acc_raw[2],
                        (int)JY61P_Right.gyro_raw[0],
                        (int)JY61P_Right.gyro_raw[1],
                        (int)JY61P_Right.gyro_raw[2],
                        (int)JY61P_Right.angle_raw[0],
                        (int)JY61P_Right.angle_raw[1],
                        (int)JY61P_Right.angle_raw[2],
                        (unsigned int)JY61P_Right.acc_valid,
                        (unsigned int)JY61P_Right.angle_valid,
                        (unsigned int)JY61P_Right.acc_sample_seen,
                        (unsigned int)jy_right_gyro_sample_seen,
                        (unsigned int)JY61P_Right.angle_sample_seen,
                        (unsigned long)JY_MainAccAge(now, &JY61P_Right),
                        (unsigned long)JY_MainSampleAge(
                            now, jy_right_gyro_sample_seen,
                            jy_right_gyro_updated_ms),
                        (unsigned long)JY_MainSampleAge(
                            now, JY61P_Right.angle_sample_seen,
                            JY61P_Right.angle_updated_ms),
                        (unsigned long)jy_right_read_count,
                        (unsigned long)jy_right_acc_error_count,
                        (unsigned long)jy_right_gyro_error_count,
                        (unsigned long)jy_right_angle_error_count,
                        (unsigned long)jy_hal_errors[0],
                        (unsigned long)jy_hal_errors[1],
                        (unsigned long)jy_hal_errors[2],
                        (unsigned long)jy_hal_errors[3],
                        (unsigned long)jy_right_angle_zero_count,
                        (unsigned long)jy_right_recovery_attempt_count,
                        (unsigned long)jy_right_recovery_success_count,
                        (unsigned long)jy_right_recovery_failure_count);
                    if (jy_debug_length > 0 &&
                        (size_t)jy_debug_length < sizeof(jy_debug_line)) {
                        (void)BT_SendString(jy_debug_line);
                    }

                    if (stack_monitor_ready != 0U &&
                        (uint32_t)(now - t_jy_real_stack_diag) >=
                            JY_REAL_STACK_DIAG_PERIOD_MS) {
                        uint32_t stack_size;
                        uint32_t stack_used;
                        t_jy_real_stack_diag = now;
                        stack_size = (uint32_t)&__initial_sp -
                                     (uint32_t)&Stack_Mem;
                        stack_used = StackMonitor_Used();
                        (void)snprintf(
                            jy_real_stack_line, sizeof(jy_real_stack_line),
                            "[STACK]|SIZE=%lu|USED=%lu|FREE=%lu|GUARD=%u\r\n",
                            (unsigned long)stack_size,
                            (unsigned long)stack_used,
                            (unsigned long)(stack_size - stack_used),
                            (unsigned int)(*(volatile const uint32_t *)&Stack_Mem ==
                                           STACK_MONITOR_GUARD));
                        (void)BT_SendString(jy_real_stack_line);
                    }
                }

                if (Alarm_FormatState(alarm_state_line,
                                      sizeof(alarm_state_line),
                                      &alarm_state) > 0) {
                    BT_SendString(alarm_state_line);
                }
            }
        }

        BringupDiag_SetADCSeen(Flex_HasValidSnapshot(0), Flex_HasValidSnapshot(1));
    }

    /* USER CODE END WHILE */
  }
}

/* USER CODE BEGIN 4 */

/*
 * TIM3 1ms 中断回调：维护全局系统 tick。
 * sys_tick_ms 是整套多速率调度器唯一的时间基准。
 */
void HAL_TIM_PeriodElapsedCallback(TIM_HandleTypeDef *htim)
{
    if (htim->Instance == TIM3) {
        sys_tick_ms++;
    }
}

/*
 * USART1 DMA 发送完成回调：供 DFPlayer 串口 DMA 使用。
 * 完成后由 DFPlayer_DMA_TxCplt 释放忙标志并推进待发队列。
 */
void HAL_UART_TxCpltCallback(UART_HandleTypeDef *huart)
{
    BT_TxCpltCallback(huart);
#if DFPLAYER_ENABLE
    if (huart->Instance == USART1) {
        DFPlayer_DMA_TxCplt();
    }
#else
    (void)huart;
#endif
}

/* USER CODE END 4 */

void SystemClock_Config(void)
{
  RCC_OscInitTypeDef RCC_OscInitStruct = {0};
  RCC_ClkInitTypeDef RCC_ClkInitStruct = {0};

  /** Configure the main internal regulator output voltage
   */
  __HAL_RCC_PWR_CLK_ENABLE();
  __HAL_PWR_VOLTAGESCALING_CONFIG(PWR_REGULATOR_VOLTAGE_SCALE1);

  /** Initializes the RCC Oscillators according to the specified parameters
   * in the RCC_OscInitTypeDef structure.
   */
  RCC_OscInitStruct.OscillatorType = RCC_OSCILLATORTYPE_HSE;
  RCC_OscInitStruct.HSEState = RCC_HSE_ON;
  RCC_OscInitStruct.PLL.PLLState = RCC_PLL_ON;
  RCC_OscInitStruct.PLL.PLLSource = RCC_PLLSOURCE_HSE;
  RCC_OscInitStruct.PLL.PLLM = 8;
  RCC_OscInitStruct.PLL.PLLN = 336;
  RCC_OscInitStruct.PLL.PLLP = RCC_PLLP_DIV2;
  RCC_OscInitStruct.PLL.PLLQ = 4;
  if (HAL_RCC_OscConfig(&RCC_OscInitStruct) != HAL_OK)
  {
    Error_Handler();
  }

  /** Initializes the CPU, AHB and APB buses clocks
   */
  RCC_ClkInitStruct.ClockType = RCC_CLOCKTYPE_HCLK|RCC_CLOCKTYPE_SYSCLK
                              |RCC_CLOCKTYPE_PCLK1|RCC_CLOCKTYPE_PCLK2;
  RCC_ClkInitStruct.SYSCLKSource = RCC_SYSCLKSOURCE_PLLCLK;
  RCC_ClkInitStruct.AHBCLKDivider = RCC_SYSCLK_DIV1;
  RCC_ClkInitStruct.APB1CLKDivider = RCC_HCLK_DIV4;
  RCC_ClkInitStruct.APB2CLKDivider = RCC_HCLK_DIV2;

  if (HAL_RCC_ClockConfig(&RCC_ClkInitStruct, FLASH_LATENCY_5) != HAL_OK)
  {
    Error_Handler();
  }
}

void Error_Handler(void)
{
  __disable_irq();
  while (1)
  {
  }
}
